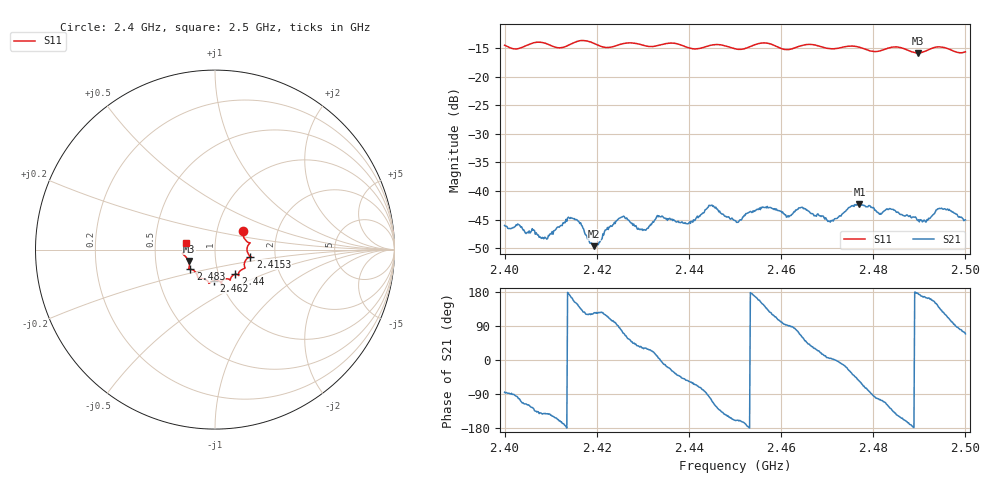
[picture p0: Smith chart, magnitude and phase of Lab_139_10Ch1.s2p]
# Hz S RI R 50
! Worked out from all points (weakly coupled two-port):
!   601 points, 2.4 GHz to 2.5 GHz, reference 50 ohm
!   highest |S21| = -42.31 dB at 2.477 GHz (marker M1); lowest = -49.6 dB at 2.4193 GHz (marker M2)
!   lowest |S11| = -15.9 dB at 2.4897 GHz (marker M3), VSWR 1.38, Z = 36.9 - j4.83 ohm
!   |S11| at or under -10 dB: start of sweep to end of sweep
!   S12 and S22 are empty: the file has one direction only
!   S11 on the Smith chart (normalised r, x): 2.4 GHz: 1.33, +0.29; 2.4153 GHz: 1.48, -0.12; 2.44 GHz: 1.20, -0.34; 2.462 GHz: 0.93, -0.33; 2.483 GHz: 0.74, -0.17; 2.5 GHz: 0.72, +0.06
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2.4e9  0.1552 0.1064  0.000431 -0.00498  0 0  0 0
2.408833e9  0.1925 0.0347  -0.00305 -0.00248  0 0  0 0
2.415333e9  0.1963 -0.0386  -0.00494 0.00266  0 0  0 0
2.416667e9  0.2021 -0.0427  -0.00343 0.00369  0 0  0 0
2.419333e9  0.1907 -0.0432  -0.00183 0.00274  0 0  0 0
2.425333e9  0.1655 -0.0977  0.00114 0.0058  0 0  0 0
2.430167e9  0.1514 -0.1106  0.004 0.00228  0 0  0 0
2.433333e9  0.1311 -0.1335  0.00592 0.00057  0 0  0 0
2.44e9  0.114 -0.1367  0.00288 -0.0044  0 0  0 0
2.444833e9  0.0847 -0.168  -0.00184 -0.00728  0 0  0 0
2.45e9  0.0646 -0.1626  -0.00517 -0.00195  0 0  0 0
2.456167e9  0.0385 -0.1931  -0.00597 0.00402  0 0  0 0
2.462e9  -0.00519 -0.1732  5.08e-05 0.0061  0 0  0 0
2.464333e9  -0.0292 -0.1839  0.00306 0.0065  0 0  0 0
2.466667e9  -0.0343 -0.1876  0.00518 0.00367  0 0  0 0
2.470833e9  -0.0564 -0.1655  0.0055 0.00043  0 0  0 0
2.477e9  -0.0959 -0.1529  0.00432 -0.00634  0 0  0 0
2.483e9  -0.1374 -0.1096  -0.00326 -0.00619  0 0  0 0
2.483333e9  -0.14 -0.1094  -0.00369 -0.00584  0 0  0 0
2.489667e9  -0.1474 -0.0638  -0.00551 0.000371  0 0  0 0
2.4945e9  -0.1804 -0.0213  -0.00499 0.00494  0 0  0 0
2.5e9  -0.1599 0.039  0.00199 0.00523  0 0  0 0
